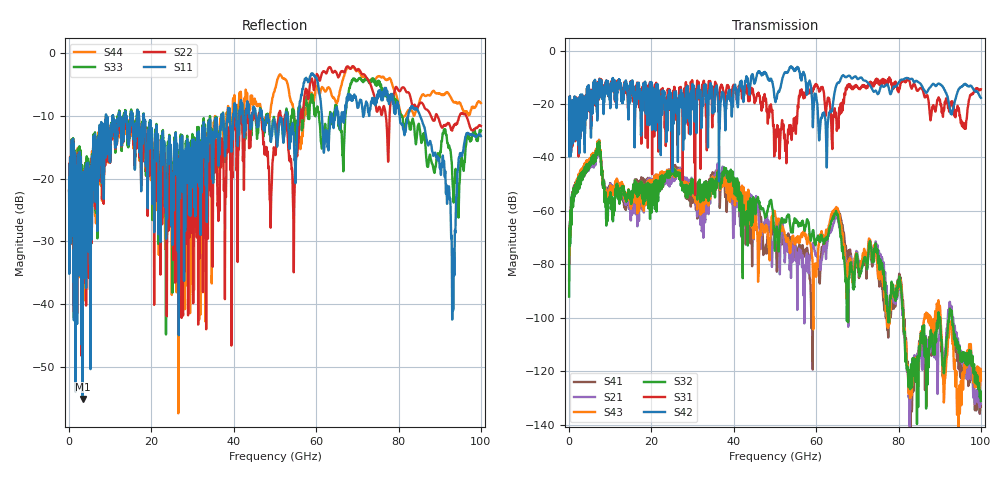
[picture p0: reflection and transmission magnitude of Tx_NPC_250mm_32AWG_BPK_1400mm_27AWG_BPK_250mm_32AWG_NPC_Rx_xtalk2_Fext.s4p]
! Info: Touchstone file created by Circ.  Input file=Tx_NPC_250mm_32AWG_BPK_1400mm_27AWG_BPK_250mm_32AWG_NPC_Rx.circ
# Hz S RI R 50
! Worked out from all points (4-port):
!   10000 points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, 10 MHz to 100 GHz, reference 50 ohm
!   strongest paths, dB at 10 MHz, 25.01 GHz, 50.01 GHz, 75.01 GHz, 100 GHz:
!     S42: -25.8, -19.4, -18.4, -16.3, -17.6
!     S31: -25.8, -23.1, -34.9, -10.9, -14.4
!     S32: -92.1, -44.6, -73.6, -78.6, -131.2
!     S43: -79.5, -44.7, -61.1, -83.9, -123.4
!     S21: -79.0, -46.8, -65.7, -76.8, -132.2
!     S41: -86.1, -44.0, -71.3, -84.0, -133.3
!   lowest |S11| = -55.2 dB at 3.29 GHz (marker M1), VSWR 1.00, Z = 49.9 - j0.153 ohm
!   |S11| at or under -10 dB: start of sweep to 8.966 GHz; 18.11 GHz to 37.02 GHz (18.92 GHz wide, 68.6 % of centre); 85.24 GHz to end of sweep (the widest 3 of 41)
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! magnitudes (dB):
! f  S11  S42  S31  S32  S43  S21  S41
! 10 MHz  -21.9  -25.8  -25.8  -92.1  -79.5  -79.0  -86.1
! 3.29 GHz  -55.2  -19.5  -19.7  -47.0  -45.4  -46.9  -46.8
! 35.97 GHz  -13.1  -14.7  -16.1  -47.1  -46.4  -43.8  -44.8
! 59.18 GHz  -3.3  -27.6  -14.8  -67.5  -81.2  -72.2  -112.4
! 65.02 GHz  -8.6  -12.4  -30.0  -61.3  -59.2  -62.3  -59.4
! 93.25 GHz  -39.4  -21.8  -21.0  -102.8  -110.0  -99.9  -103.2
! 100 GHz  -13.2  -17.6  -14.4  -131.2  -123.4  -132.2  -133.3
